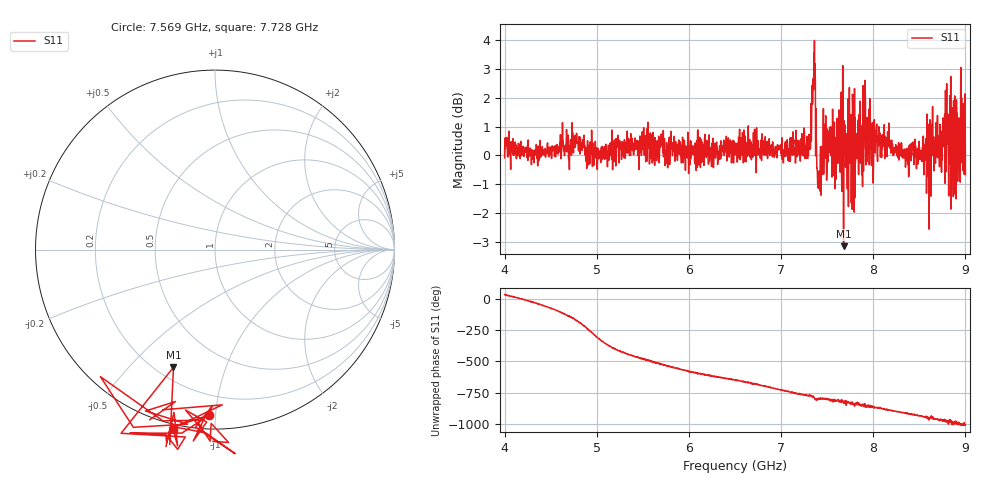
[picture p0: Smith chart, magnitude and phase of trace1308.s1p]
! Created with skrf 1.8.0 (http://scikit-rf.org).
# Hz S RI R 50.0
!freq ReS11 ImS11
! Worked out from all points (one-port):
!   1601 points, 4 GHz to 9 GHz, reference 50 ohm
!   lowest |S11| = -3.2 dB at 7.678 GHz (marker M1), VSWR 5.56, Z = 13.3 - j33.7 ohm
!   |S11| at or under -10 dB: nowhere
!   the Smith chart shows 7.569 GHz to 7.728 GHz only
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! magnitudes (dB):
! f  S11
! 4 GHz  -0.1
! 4.625 GHz  0.5
! 5.019 GHz  0.0
! 5.25 GHz  0.5
! 5.875 GHz  -0.2
! 6.5 GHz  0.4
! 7.125 GHz  0.3
! 7.294 GHz  0.2
! 7.347 GHz  2.7
! 7.359 GHz  2.8
! 7.397 GHz  -1.0
! 7.412 GHz  -0.5
! 7.481 GHz  -0.1
! 7.591 GHz  0.6
! 7.647 GHz  0.7
! 7.678 GHz  -3.2
! 7.703 GHz  0.0
! 7.75 GHz  -0.3
! 7.788 GHz  -0.5
! 7.834 GHz  0.4
! 7.928 GHz  0.3
! 8.375 GHz  0.0
! 8.603 GHz  -0.9
! 8.634 GHz  0.6
! 8.816 GHz  -0.4
! 8.869 GHz  -1.4
! 8.959 GHz  2.0
! 9 GHz  -0.7
